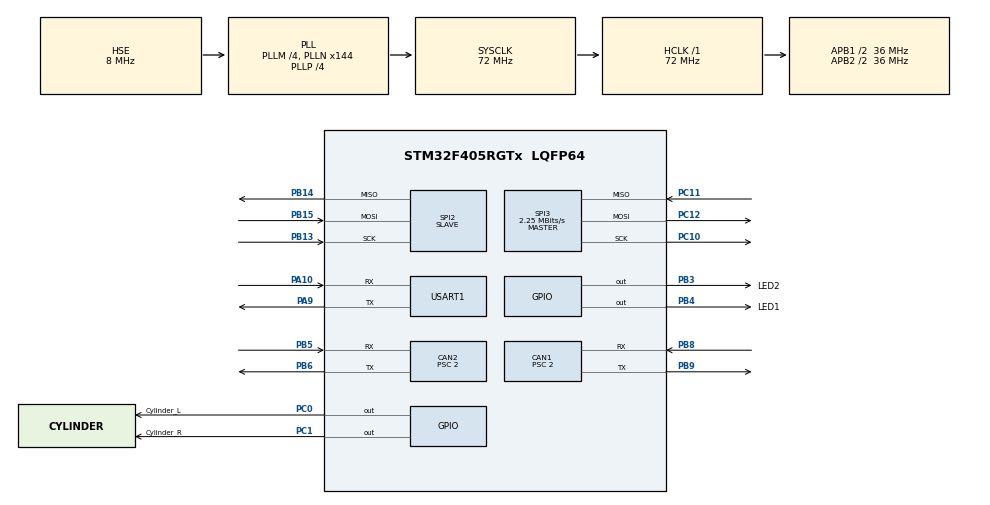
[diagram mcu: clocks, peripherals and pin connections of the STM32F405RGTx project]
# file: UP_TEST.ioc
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CAN1.BS1=CAN_BS1_9TQ
CAN1.BS2=CAN_BS2_8TQ
CAN1.CalculateBaudRate=1000000
CAN1.CalculateTimeBit=1000
CAN1.CalculateTimeQuantum=55.55555555555556
CAN1.Prescaler=2
CAN2.BS1=CAN_BS1_9TQ
CAN2.BS2=CAN_BS2_8TQ
CAN2.CalculateBaudRate=1000000
CAN2.CalculateTimeBit=1000
CAN2.CalculateTimeQuantum=55.55555555555556
CAN2.Prescaler=2
Dma.MEMTOMEM.2.Direction=DMA_MEMORY_TO_MEMORY
Dma.MEMTOMEM.2.FIFOMode=DMA_FIFOMODE_ENABLE
Dma.MEMTOMEM.2.FIFOThreshold=DMA_FIFO_THRESHOLD_FULL
Dma.MEMTOMEM.2.Instance=DMA2_Stream0
Dma.MEMTOMEM.2.MemBurst=DMA_MBURST_SINGLE
Dma.MEMTOMEM.2.MemDataAlignment=DMA_MDATAALIGN_BYTE
Dma.MEMTOMEM.2.MemInc=DMA_MINC_ENABLE
Dma.MEMTOMEM.2.Mode=DMA_NORMAL
Dma.MEMTOMEM.2.PeriphBurst=DMA_PBURST_SINGLE
Dma.MEMTOMEM.2.PeriphDataAlignment=DMA_PDATAALIGN_BYTE
Dma.MEMTOMEM.2.PeriphInc=DMA_PINC_ENABLE
Dma.MEMTOMEM.2.Priority=DMA_PRIORITY_LOW
Dma.Request0=USART1_RX
Dma.Request1=USART1_TX
Dma.Request2=MEMTOMEM
Dma.USART1_RX.0.Direction=DMA_PERIPH_TO_MEMORY
Dma.USART1_RX.0.FIFOMode=DMA_FIFOMODE_DISABLE
Dma.USART1_RX.0.Instance=DMA2_Stream2
Dma.USART1_RX.0.MemDataAlignment=DMA_MDATAALIGN_BYTE
Dma.USART1_RX.0.MemInc=DMA_MINC_ENABLE
Dma.USART1_RX.0.Mode=DMA_NORMAL
Dma.USART1_RX.0.PeriphDataAlignment=DMA_PDATAALIGN_BYTE
Dma.USART1_RX.0.PeriphInc=DMA_PINC_DISABLE
Dma.USART1_RX.0.Priority=DMA_PRIORITY_MEDIUM
Dma.USART1_TX.1.Direction=DMA_MEMORY_TO_PERIPH
Dma.USART1_TX.1.FIFOMode=DMA_FIFOMODE_DISABLE
Dma.USART1_TX.1.Instance=DMA2_Stream7
Dma.USART1_TX.1.MemDataAlignment=DMA_MDATAALIGN_BYTE
Dma.USART1_TX.1.MemInc=DMA_MINC_ENABLE
Dma.USART1_TX.1.Mode=DMA_NORMAL
Dma.USART1_TX.1.PeriphDataAlignment=DMA_PDATAALIGN_BYTE
Dma.USART1_TX.1.PeriphInc=DMA_PINC_DISABLE
Dma.USART1_TX.1.Priority=DMA_PRIORITY_MEDIUM
FREERTOS.Tasks01=defaultTask,0,128,StartDefaultTask,Default,NULL,Dynamic,NULL,NULL;LED,-3,128,LED_Task,Default,NULL,Dynamic,NULL,NULL;CAN,-3,128,CAN_Task,Default,NULL,Dynamic,NULL,NULL;UART,-3,256,UART_Task,Default,NULL,Dynamic,NULL,NULL;GAIT,-3,128,GAIT_Task,Default,NULL,Dynamic,NULL,NULL
Mcu.Family=STM32F4
Mcu.Name=STM32F405RGTx
Mcu.Package=LQFP64
NVIC.CAN1_RX0_IRQn=true\:5\:0\:true\:false\:true\:true\:true\:true\:true
NVIC.CAN1_RX1_IRQn=true\:5\:0\:true\:false\:true\:true\:true\:true\:true
NVIC.CAN2_RX0_IRQn=true\:5\:0\:true\:false\:true\:true\:true\:true\:true
NVIC.CAN2_RX1_IRQn=true\:5\:0\:true\:false\:true\:true\:true\:true\:true
NVIC.DMA2_Stream2_IRQn=true\:5\:0\:false\:false\:true\:true\:false\:true\:true
NVIC.DMA2_Stream7_IRQn=true\:5\:0\:false\:false\:true\:true\:false\:true\:true
NVIC.PriorityGroup=NVIC_PRIORITYGROUP_4
NVIC.SPI2_IRQn=true\:5\:0\:false\:false\:true\:true\:true\:true\:true
NVIC.TIM1_UP_TIM10_IRQn=true\:15\:0\:true\:false\:true\:false\:false\:true\:true
NVIC.TimeBase=TIM1_UP_TIM10_IRQn
NVIC.TimeBaseIP=TIM1
NVIC.USART1_IRQn=true\:5\:0\:false\:false\:true\:true\:true\:true\:true
PA10.Mode=Asynchronous
PA10.Signal=USART1_RX
PA13.Mode=Serial_Wire
PA13.Signal=SYS_JTMS-SWDIO
PA14.Mode=Serial_Wire
PA14.Signal=SYS_JTCK-SWCLK
PA9.Mode=Asynchronous
PA9.Signal=USART1_TX
PB13.Mode=Full_Duplex_Slave
PB13.Signal=SPI2_SCK
PB14.Mode=Full_Duplex_Slave
PB14.Signal=SPI2_MISO
PB15.Mode=Full_Duplex_Slave
PB15.Signal=SPI2_MOSI
PB3.GPIO_Label=LED2
PB3.Signal=GPIO_Output
PB4.GPIO_Label=LED1
PB4.Signal=GPIO_Output
PB5.Mode=CAN_Activate
PB5.Signal=CAN2_RX
PB6.Mode=CAN_Activate
PB6.Signal=CAN2_TX
PB8.Mode=CAN_Activate
PB8.Signal=CAN1_RX
PB9.Mode=CAN_Activate
PB9.Signal=CAN1_TX
PC0.GPIO_Label=Cylinder_L
PC0.GPIO_ModeDefaultOutputPP=GPIO_MODE_OUTPUT_PP
PC0.GPIO_PuPd=GPIO_NOPULL
PC0.Signal=GPIO_Output
PC1.GPIO_Label=Cylinder_R
PC1.Signal=GPIO_Output
PC10.Mode=Full_Duplex_Master
PC10.Signal=SPI3_SCK
PC11.Mode=Full_Duplex_Master
PC11.Signal=SPI3_MISO
PC12.Mode=Full_Duplex_Master
PC12.Signal=SPI3_MOSI
PH0-OSC_IN.Mode=HSE-External-Oscillator
PH0-OSC_IN.Signal=RCC_OSC_IN
PH1-OSC_OUT.Mode=HSE-External-Oscillator
PH1-OSC_OUT.Signal=RCC_OSC_OUT
ProjectManager.HeapSize=0x200
ProjectManager.StackSize=0x400
ProjectManager.TargetToolchain=STM32CubeIDE
RCC.48MHZClocksFreq_Value=72000000
RCC.AHBFreq_Value=72000000
RCC.APB1CLKDivider=RCC_HCLK_DIV2
RCC.APB1Freq_Value=36000000
RCC.APB1TimFreq_Value=72000000
RCC.APB2CLKDivider=RCC_HCLK_DIV2
RCC.APB2Freq_Value=36000000
RCC.APB2TimFreq_Value=72000000
RCC.CortexFreq_Value=72000000
RCC.HCLKFreq_Value=72000000
RCC.HSE_VALUE=8000000
RCC.HSI_VALUE=16000000
RCC.LSE_VALUE=32768
RCC.PLLM=4
RCC.PLLN=144
RCC.PLLP=RCC_PLLP_DIV4
RCC.PLLSourceVirtual=RCC_PLLSOURCE_HSE
RCC.SYSCLKFreq_VALUE=72000000
RCC.SYSCLKSource=RCC_SYSCLKSOURCE_PLLCLK
RCC.VCOOutputFreq_Value=288000000
SPI2.Direction=SPI_DIRECTION_2LINES
SPI2.Mode=SPI_MODE_SLAVE
SPI2.VirtualType=VM_SLAVE
SPI3.BaudRatePrescaler=SPI_BAUDRATEPRESCALER_16
SPI3.CalculateBaudRate=2.25 MBits/s
SPI3.Direction=SPI_DIRECTION_2LINES
SPI3.Mode=SPI_MODE_MASTER
SPI3.VirtualType=VM_MASTER
USART1.VirtualMode=VM_ASYNC
VP_FREERTOS_VS_CMSIS_V1.Mode=CMSIS_V1
VP_SYS_VS_tim1.Mode=TIM1
board=custom

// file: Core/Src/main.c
/* USER CODE BEGIN Header */
/**
  ******************************************************************************
  * @file           : main.c
  * @brief          : Main program body
  ******************************************************************************
  * @attention
  *
  * Copyright (c) 2022 STMicroelectronics.
  * All rights reserved.
  *
  * This software is licensed under terms that can be found in the LICENSE file
  * in the root directory of this software component.
  * If no LICENSE file comes with this software, it is provided AS-IS.
  *
  ******************************************************************************
  */
/* USER CODE END Header */
#include "main.h"
#include "cmsis_os.h"
#include "can.h"
#include "dma.h"
#include "spi.h"
#include "usart.h"
#include "gpio.h"

void SystemClock_Config(void);
void MX_FREERTOS_Init(void);

/* USER CODE BEGIN 0 */
//#ifdef __GNUC__
//#define PUTCHAR_PROTOTYPE int __io_putchar(int ch)
//#else
//#define PUTCHAR_PROTOTYPE int fputc(int ch, FILE *f)
//#endif
//PUTCHAR_PROTOTYPE
//{
//	HAL_UART_Transmit(&huart1, (uint8_t *)&ch, 1, 0xFFFF);
//	return ch;
//}

void DmaPrintf(const char *format,...)
{
	uint16_t len;
	va_list args;
	va_start(args,format);
	len = vsnprintf((char*)USART1_TX_BUF,sizeof(USART1_TX_BUF)+1,(char*)format,args);
	va_end(args);
	HAL_UART_Transmit_DMA(&huart1, USART1_TX_BUF, len);
}

/* USER CODE END 0 */

int main(void)
{

  /* MCU Configuration--------------------------------------------------------*/

  /* Reset of all peripherals, Initializes the Flash interface and the Systick. */
  HAL_Init();

  /* Configure the system clock */
  SystemClock_Config();

  /* Initialize all configured peripherals */
  MX_GPIO_Init();
  MX_DMA_Init();
  MX_USART1_UART_Init();
  MX_CAN1_Init();
  MX_CAN2_Init();
  MX_SPI3_Init();
  MX_SPI2_Init();
  /* USER CODE BEGIN 2 */
  HAL_Delay(100);
  DS33_Init();
  HAL_Delay(100);
  icm20602_init();
  HAL_UART_Receive_IT(&huart1,USART1_RX_TEMP, sizeof(USART1_RX_TEMP)); //�??启接收中�??
  motor_init();

  /* USER CODE END 2 */

  /* Call init function for freertos objects (in freertos.c) */
  MX_FREERTOS_Init();

  /* Start scheduler */
  osKernelStart();

  /* We should never get here as control is now taken by the scheduler */
  /* Infinite loop */
  /* USER CODE BEGIN WHILE */
  while (1)
  {

	  /*
	  LSM6_readAcc(1);
	  LSM6_readGyro(1);
	  printf("\nAcc: x:%d y:%d z:%d\n",data_acc.x,data_acc.y,data_acc.z);
	  printf("\nGyro: x:%d y:%d z:%d\n",data_g.x,data_g.y,data_g.z);
	  printf("\nAcc: x:%d y:%d z:%d\n",lis3mdl.Acc_I16.x,lis3mdl.Acc_I16.y,lis3mdl.Acc_I16.z);
	  printf("\nGyro: x:%d y:%d z:%d\n",lis3mdl.Gyro_I16.x,lis3mdl.Gyro_I16.y,lis3mdl.Gyro_I16.z);

	  icm20602_get_accel_adc();
	  icm20602_get_gyro_adc();
	  printf("\nAcc: x:%d y:%d z:%d\n",data_acc.x,data_acc.y,data_acc.z);
	  printf("\nGyro: x:%d y:%d z:%d\n",data_g.x,data_g.y,data_g.z);
	  printf("\nAcc: x:%d y:%d z:%d\n",lis3mdl.Acc_I16.x,lis3mdl.Acc_I16.y,lis3mdl.Acc_I16.z);
	  printf("\nGyro: x:%d y:%d z:%d\n",lis3mdl.Gyro_I16.x,lis3mdl.Gyro_I16.y,lis3mdl.Gyro_I16.z);
	*/
//	CAN_TxMeg(ID, TxData,8);

    /* USER CODE END WHILE */

  }
}

void SystemClock_Config(void)
{
  RCC_OscInitTypeDef RCC_OscInitStruct = {0};
  RCC_ClkInitTypeDef RCC_ClkInitStruct = {0};

  /** Configure the main internal regulator output voltage
  */
  __HAL_RCC_PWR_CLK_ENABLE();
  __HAL_PWR_VOLTAGESCALING_CONFIG(PWR_REGULATOR_VOLTAGE_SCALE1);

  /** Initializes the RCC Oscillators according to the specified parameters
  * in the RCC_OscInitTypeDef structure.
  */
  RCC_OscInitStruct.OscillatorType = RCC_OSCILLATORTYPE_HSE;
  RCC_OscInitStruct.HSEState = RCC_HSE_ON;
  RCC_OscInitStruct.PLL.PLLState = RCC_PLL_ON;
  RCC_OscInitStruct.PLL.PLLSource = RCC_PLLSOURCE_HSE;
  RCC_OscInitStruct.PLL.PLLM = 4;
  RCC_OscInitStruct.PLL.PLLN = 144;
  RCC_OscInitStruct.PLL.PLLP = RCC_PLLP_DIV4;
  RCC_OscInitStruct.PLL.PLLQ = 4;
  if (HAL_RCC_OscConfig(&RCC_OscInitStruct) != HAL_OK)
  {
    Error_Handler();
  }

  /** Initializes the CPU, AHB and APB buses clocks
  */
  RCC_ClkInitStruct.ClockType = RCC_CLOCKTYPE_HCLK|RCC_CLOCKTYPE_SYSCLK
                              |RCC_CLOCKTYPE_PCLK1|RCC_CLOCKTYPE_PCLK2;
  RCC_ClkInitStruct.SYSCLKSource = RCC_SYSCLKSOURCE_PLLCLK;
  RCC_ClkInitStruct.AHBCLKDivider = RCC_SYSCLK_DIV1;
  RCC_ClkInitStruct.APB1CLKDivider = RCC_HCLK_DIV2;
  RCC_ClkInitStruct.APB2CLKDivider = RCC_HCLK_DIV2;

  if (HAL_RCC_ClockConfig(&RCC_ClkInitStruct, FLASH_LATENCY_2) != HAL_OK)
  {
    Error_Handler();
  }
}

void HAL_TIM_PeriodElapsedCallback(TIM_HandleTypeDef *htim)
{
  if (htim->Instance == TIM1) {
    HAL_IncTick();
  }
}

void Error_Handler(void)
{
  __disable_irq();
  while (1)
  {
  }
}

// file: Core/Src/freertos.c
/* USER CODE BEGIN Header */
/**
  ******************************************************************************
  * File Name          : freertos.c
  * Description        : Code for freertos applications
  ******************************************************************************
  * @attention
  *
  * Copyright (c) 2023 STMicroelectronics.
  * All rights reserved.
  *
  * This software is licensed under terms that can be found in the LICENSE file
  * in the root directory of this software component.
  * If no LICENSE file comes with this software, it is provided AS-IS.
  *
  ******************************************************************************
  */
/* USER CODE END Header */

#include "FreeRTOS.h"
#include "task.h"
#include "main.h"
#include "cmsis_os.h"

/* USER CODE BEGIN Includes */
#include "usart.h"
#include "gpio.h"
/* USER CODE END Includes */

osThreadId defaultTaskHandle;
osThreadId LEDHandle;
osThreadId CANHandle;
osThreadId UARTHandle;
osThreadId GAITHandle;

void StartDefaultTask(void const * argument);
void LED_Task(void const * argument);
void CAN_Task(void const * argument);
void UART_Task(void const * argument);
void GAIT_Task(void const * argument);

void MX_FREERTOS_Init(void); /* (MISRA C 2004 rule 8.1) */

/* GetIdleTaskMemory prototype (linked to static allocation support) */
void vApplicationGetIdleTaskMemory( StaticTask_t **ppxIdleTaskTCBBuffer, StackType_t **ppxIdleTaskStackBuffer, uint32_t *pulIdleTaskStackSize );

/* USER CODE BEGIN GET_IDLE_TASK_MEMORY */
static StaticTask_t xIdleTaskTCBBuffer;
static StackType_t xIdleStack[configMINIMAL_STACK_SIZE];

void vApplicationGetIdleTaskMemory( StaticTask_t **ppxIdleTaskTCBBuffer, StackType_t **ppxIdleTaskStackBuffer, uint32_t *pulIdleTaskStackSize )
{
  *ppxIdleTaskTCBBuffer = &xIdleTaskTCBBuffer;
  *ppxIdleTaskStackBuffer = &xIdleStack[0];
  *pulIdleTaskStackSize = configMINIMAL_STACK_SIZE;
  /* place for user code */
}
/* USER CODE END GET_IDLE_TASK_MEMORY */

void MX_FREERTOS_Init(void) {

  /* Create the thread(s) */
  /* definition and creation of defaultTask */
  osThreadDef(defaultTask, StartDefaultTask, osPriorityNormal, 0, 128);
  defaultTaskHandle = osThreadCreate(osThread(defaultTask), NULL);

  /* definition and creation of LED */
  osThreadDef(LED, LED_Task, osPriorityIdle, 0, 512);
  LEDHandle = osThreadCreate(osThread(LED), NULL);

  /* definition and creation of CAN */
  osThreadDef(CAN, CAN_Task, osPriorityIdle, 0, 128);
  CANHandle = osThreadCreate(osThread(CAN), NULL);

  /* definition and creation of UART */
  osThreadDef(UART, UART_Task, osPriorityIdle, 0, 256);
  UARTHandle = osThreadCreate(osThread(UART), NULL);

  /* definition and creation of GAIT */
  osThreadDef(GAIT, GAIT_Task, osPriorityIdle, 0, 128);
  GAITHandle = osThreadCreate(osThread(GAIT), NULL);

}

void StartDefaultTask(void const * argument)
{
  for(;;)
  {
    osDelay(1);
  }
}

void LED_Task(void const * argument)
{
  /* USER CODE BEGIN LED_Task */
	int led = 1;
	int led_flag = 0;
  /* Infinite loop */
  for(;;)
  {
	  if(led){
		led_flag=!led_flag;
		LEDRGB_RED(led_flag);
		LEDRGB_BLUE(!led_flag);
	  }
	  //change_H();
	  osDelay(200);
  }
  /* USER CODE END LED_Task */
}

void CAN_Task(void const * argument)
{
  /* USER CODE BEGIN CAN_Task */

  /* Infinite loop */
  for(;;)
  {
	  motor_control();
	  osDelay(1);
  }
  /* USER CODE END CAN_Task */
}

void UART_Task(void const * argument)
{
  /* USER CODE BEGIN UART_Task */
	int CL_flag = 0;
	int CR_flag = 0;
  /* Infinite loop */
  for(;;)
  {
	  if(CAN_FLAG){
		  DmaPrintf("%d %d %d %.3f %.3f %.3f %.3f\t",Leg_left.count,Leg_left.stand_flag,motor[1].ID,motor[1].p_des,motor[1].position,motor[1].velocity,motor[1].current);
		  HAL_Delay(3);
		  DmaPrintf("%d %.3f %.3f %.3f %.3f\t",motor[2].ID,motor[2].p_des,motor[2].position,motor[2].velocity,motor[2].current);
		  HAL_Delay(3);
		  DmaPrintf("%d %.3f %.3f %.3f %.3f\t",motor[3].ID,motor[3].p_des,motor[3].position,motor[3].velocity,motor[3].current);
		  HAL_Delay(3);
		  DmaPrintf("%d %.3f %.3f %.3f %.3f\n",motor[4].ID,motor[4].p_des,motor[4].position,motor[4].velocity,motor[4].current);

		  CAN_FLAG = 0;
	  }

		if( USART1_RX_FLAG){
			HAL_Delay(100);
			if(USART1_RX_BUF[0]=='E'){
				motor_enable_all();
			}
			if(USART1_RX_BUF[0]=='D'){
				motor_disable(1);motor_disable(2);motor_disable(3);motor_disable(4);
			}
			if(USART1_RX_BUF[0]=='Z'){
				motor_setzero(1);motor_setzero(2);motor_setzero(3);motor_setzero(4);
			}
			if(USART1_RX_BUF[0]=='P'){
				int position = (USART1_RX_BUF[1] - '0')*10 + (USART1_RX_BUF[2] - '0');
				DmaPrintf("position:%d",position);
				motor[1].limit_flag = motor_setdes(motor[1], (float)position/180*PI+INIT_ANGLE_L1);
			}
			if(USART1_RX_BUF[0]=='T'){
				int count = (USART1_RX_BUF[1] - '0')*10 + (USART1_RX_BUF[2] - '0');
				pack_TX(1, stand_trajectory[count][0], 0, 5, 1, 0);
				pack_TX(2, stand_trajectory[count][0], 0, 5, 1, 0);
			}
			if(USART1_RX_BUF[0]=='L'){
				CL_flag = !CL_flag;
				Cylinder_L(CL_flag);
			}
			if(USART1_RX_BUF[0]=='R'){
				CR_flag = !CR_flag;
				Cylinder_R(CR_flag);
			}

			for( int i = 0; i<USART1_RX_CNT; i ++){
				USART1_RX_BUF[i] = 0;
			}
			USART1_RX_CNT = 0;
			USART1_RX_FLAG = 0;
		}

	  osDelay(3);
  }
  /* USER CODE END UART_Task */
}

void GAIT_Task(void const * argument)
{
  /* USER CODE BEGIN GAIT_Task */

  /* Infinite loop */
  for(;;)
  {
	  if(enable_flag){
	  //左腿规划
	  if(Leg_left.stand_flag){
		  motor[1].limit_flag = motor_setdes(motor[1], Leg_left.stand_trajectory[Leg_left.count][0]);
		  motor[2].limit_flag = motor_setdes(motor[2], Leg_left.stand_trajectory[Leg_left.count][1]);
		  Leg_left.count ++;
		  if(Leg_left.count == (int)(100*BOTH_RATIO)){
			  Leg_left.count = 0;
			  Leg_left.stand_flag = 0;
			  Leg_left.swing_flag = 1;
			  CL_flag = 0;
			  Cylinder_L(CL_flag);
		  }
	  }
	  if(Leg_left.swing_flag){
		  motor[1].limit_flag = motor_setdes(motor[1], Leg_left.swing_trajectory[Leg_left.count][0]);
		  motor[2].limit_flag = motor_setdes(motor[2], Leg_left.swing_trajectory[Leg_left.count][1]);
		  Leg_left.count ++;
		  if(Leg_left.count == 100){
			  Leg_left.count = 0;
			  Leg_left.stand_flag = 1;
			  Leg_left.swing_flag = 0;
			  CL_flag = 1;
			  Cylinder_L(CL_flag);
		  }
	  }
	  //右腿规划
	  if(Leg_right.stand_flag){
		  motor[3].limit_flag = motor_setdes(motor[3], Leg_right.stand_trajectory[Leg_right.count][0]);
		  motor[4].limit_flag = motor_setdes(motor[4], Leg_right.stand_trajectory[Leg_right.count][1]);
		  Leg_right.count ++;
		  if(Leg_right.count == (int)(100*BOTH_RATIO)){
			  Leg_right.count = 0;
			  Leg_right.stand_flag = 0;
			  Leg_right.swing_flag = 1;
			  CR_flag = 0;
			  Cylinder_R(CR_flag);
		  }
	  }
	  if(Leg_right.swing_flag){
		  motor[3].limit_flag = motor_setdes(motor[3], Leg_right.swing_trajectory[Leg_right.count][0]);
		  motor[4].limit_flag = motor_setdes(motor[4], Leg_right.swing_trajectory[Leg_right.count][1]);
		  Leg_right.count ++;
		  if(Leg_right.count == 100){
			  Leg_right.count = 0;
			  Leg_right.stand_flag = 1;
			  Leg_right.swing_flag = 0;
			  CR_flag = 1;
			  Cylinder_R(CR_flag);
		  }
	  }
//	  HAL_Delay(10);
//	  DmaPrintf("%d %d\n",Leg_left.count,Leg_right.count);
	  }
      osDelay(20);
  }
  /* USER CODE END GAIT_Task */
}
